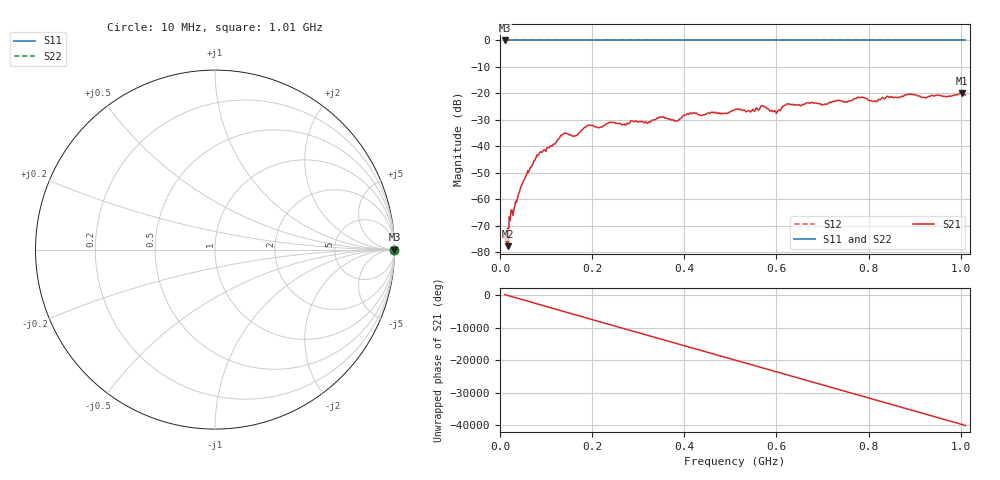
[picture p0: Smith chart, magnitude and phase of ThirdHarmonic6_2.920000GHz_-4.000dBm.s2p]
! 8/17/2025 8:07:20 AM
! C:\ANRITSUVNA\TEMP\TEMP.S2P
! CHANNEL.1
! TR.MEASUREMENT
! RAW.DATA
! RF.CORRECTION.OFF
! AVERAGING.OFF
! IF.BANDWIDTH: 5KHZ
! SWEEPTYPE:  FREQ.SWEEP(Linear)
! Reference Plane Port Info
! PORT:  PORT1  PORT2
! DISTANCE:  0  m  0  m
! TIME:  0  s  0  s
! PHASE.OFFSET:  0  deg.  0  deg.
! LOSS:  0  dB  0  dB
! REF.LOSS:  0  dB  0  dB
! REF.FREQ:  0  Hz  0  Hz
! Power Info
! POWER:  -20  dBm  -20  dBm
! EFF.POWER:  -20  dBm  -20  dBm
! SOURCE.ATTEN:  0  dB  0  dB
! TEST.ATTEN:  0  dB  0  dB
# GHZ S RI R 50.0
! FREQ.GHZ  S11RE  S11IM  S21RE  S21IM  S12RE  S12IM  S22RE  S22IM
!; PortSelection: Port_12
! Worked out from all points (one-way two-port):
!   501 points, 10 MHz to 1.01 GHz, reference 50 ohm
!   highest |S21| = -19.80 dB at 1.002 GHz (marker M1); lowest = -77.7 dB at 18 MHz (marker M2)
!   lowest |S11| = 0.0 dB at 10 MHz (marker M3)
!   |S11| at or under -10 dB: nowhere
!   |S22| runs from 0.0 to 0.0 dB; largest |S21 - S12| = 1.1
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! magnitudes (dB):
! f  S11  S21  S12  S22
! 10 MHz  0.0  -74.5  0.0  0.0
! 18 MHz  0.0  -77.7  0.0  0.0
! 24 MHz  0.0  -64.0  0.0  0.0
! 48 MHz  0.0  -54.3  0.0  0.0
! 82 MHz  0.0  -43.5  0.0  0.0
! 136 MHz  0.0  -35.6  0.0  0.0
! 162 MHz  0.0  -36.1  0.0  0.0
! 178 MHz  0.0  -33.7  0.0  0.0
! 194 MHz  0.0  -32.0  0.0  0.0
! 344 MHz  0.0  -29.3  0.0  0.0
! 382 MHz  0.0  -30.3  0.0  0.0
! 416 MHz  0.0  -27.6  0.0  0.0
! 510 MHz  0.0  -26.1  0.0  0.0
! 570 MHz  0.0  -24.6  0.0  0.0
! 598 MHz  0.0  -26.9  0.0  0.0
! 624 MHz  0.0  -23.9  0.0  0.0
! 678 MHz  0.0  -23.5  0.0  0.0
! 782 MHz  0.0  -21.6  0.0  0.0
! 814 MHz  0.0  -22.8  0.0  0.0
! 844 MHz  0.0  -21.5  0.0  0.0
! 1.002 GHz  0.0  -19.8  0.0  0.0
! 1.01 GHz  0.0  -20.5  0.0  0.0
